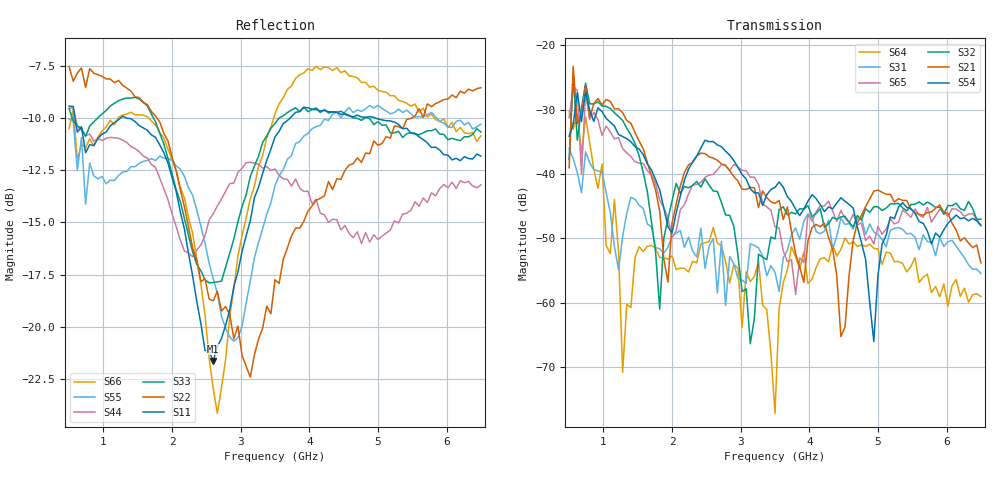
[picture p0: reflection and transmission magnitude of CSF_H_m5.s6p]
!Keysight Technologies,M9804A,MY58100912,A.14.10.03
!Date: Thursday, April 27, 2023 10:28:33
!Correction: S11(C  6-Port  )
!S12(C  6-Port  )
!S13(C  6-Port  )
!S14(C  6-Port  )
!S15(C  6-Port  )
!S16(C  6-Port  )
!S21(C  6-Port  )
!S22(C  6-Port  )
!S23(C  6-Port  )
!S24(C  6-Port  )
!S25(C  6-Port  )
!S26(C  6-Port  )
!S31(C  6-Port  )
!S32(C  6-Port  )
!S33(C  6-Port  )
!S34(C  6-Port  )
!S35(C  6-Port  )
!S36(C  6-Port  )
!S41(C  6-Port  )
!S42(C  6-Port  )
!S43(C  6-Port  )
!S44(C  6-Port  )
!S45(C  6-Port  )
!S46(C  6-Port  )
!S51(C  6-Port  )
!S52(C  6-Port  )
!S53(C  6-Port  )
!S54(C  6-Port  )
!S55(C  6-Port  )
!S56(C  6-Port  )
!S61(C  6-Port  )
!S62(C  6-Port  )
!S63(C  6-Port  )
!S64(C  6-Port  )
!S65(C  6-Port  )
!S66(C  6-Port  )
!S6P File: Measurement: :
# Hz S  RI  R 50
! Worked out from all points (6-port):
!   101 points, 500 MHz to 6.5 GHz, reference 50 ohm
!   strongest paths, dB at 500 MHz, 2 GHz, 3.5 GHz, 5 GHz, 6.5 GHz:
!     S54: -34.1, -49.1, -42.1, -55.8, -48.0
!     S21: -39.0, -47.6, -44.6, -42.5, -53.8
!     S32: -37.7, -44.2, -50.1, -45.1, -47.0
!     S65: -31.3, -49.8, -48.2, -48.1, -47.9
!     S31: -36.0, -49.6, -55.2, -49.4, -55.4
!     S64: -30.3, -52.7, -77.1, -51.6, -59.0
!   lowest |S11| = -21.7 dB at 2.6 GHz (marker M1), VSWR 1.18, Z = 42.6 + j2 ohm
!   |S11| at or under -10 dB: 587.8 MHz to 1.243 GHz (654.8 MHz wide, 71.5 % of centre); 1.373 GHz to 3.714 GHz (2.341 GHz wide, 92 % of centre); 4.978 GHz to end of sweep
